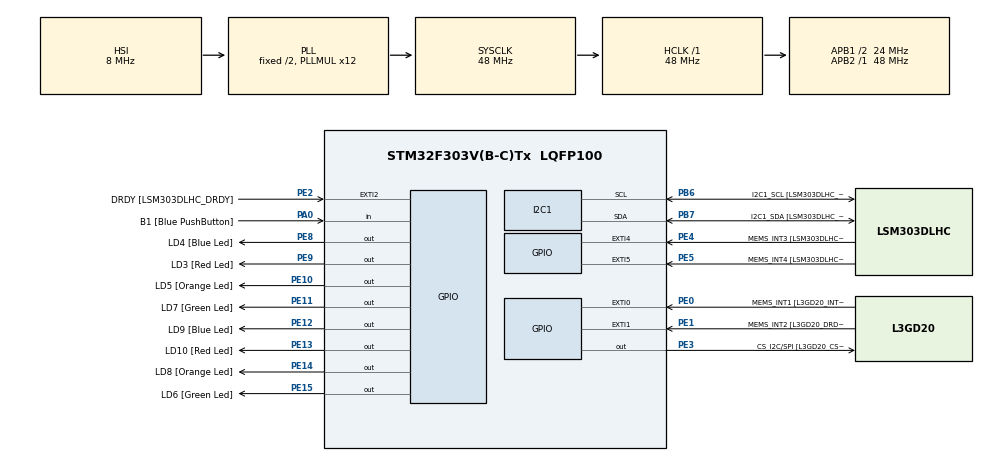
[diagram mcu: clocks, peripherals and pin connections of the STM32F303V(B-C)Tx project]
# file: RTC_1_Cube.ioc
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Mcu.Family=STM32F3
Mcu.Name=STM32F303V(B-C)Tx
Mcu.Package=LQFP100
NVIC.PriorityGroup=NVIC_PRIORITYGROUP_0
PA0.GPIO_Label=B1 [Blue PushButton]
PA0.GPIO_Mode=GPIO_MODE_INPUT
PA0.GPIO_PuPd=GPIO_NOPULL
PA0.Signal=GPIO_Input
PA11.GPIO_Label=DM
PA11.Signal=USB_DM
PA12.GPIO_Label=DP
PA12.Signal=USB_DP
PA13.GPIO_Label=SWDIO
PA13.Signal=SYS_JTMS-SWDIO
PA14.GPIO_Label=SWCLK
PA14.Signal=SYS_JTCK-SWCLK
PA5.GPIO_Label=SPI1_SCK [L3GD20_SCL/SPC]
PA5.GPIO_Mode=GPIO_MODE_AF_PP
PA5.GPIO_PuPd=GPIO_NOPULL
PA5.GPIO_Speed=GPIO_SPEED_FREQ_LOW
PA5.Signal=SPI1_SCK
PA6.GPIO_Label=SPI1_MISO [L3GD20_SA0/SDO]
PA6.GPIO_Mode=GPIO_MODE_AF_PP
PA6.GPIO_PuPd=GPIO_NOPULL
PA6.GPIO_Speed=GPIO_SPEED_FREQ_LOW
PA6.Signal=SPI1_MISO
PA7.GPIO_Label=SPI1_MISO [L3GD20_SDA/SDI/SDO]
PA7.GPIO_Mode=GPIO_MODE_AF_PP
PA7.GPIO_PuPd=GPIO_NOPULL
PA7.GPIO_Speed=GPIO_SPEED_FREQ_LOW
PA7.Signal=SPI1_MOSI
PB3.GPIO_Label=SWO
PB3.Signal=SYS_JTDO-TRACESWO
PB6.GPIO_FM6=__NULL
PB6.GPIO_Label=I2C1_SCL [LSM303DLHC_SCL]
PB6.GPIO_Mode=GPIO_MODE_AF_OD
PB6.GPIO_PuPd=GPIO_NOPULL
PB6.GPIO_Speed=GPIO_SPEED_FREQ_LOW
PB6.Mode=I2C
PB6.Signal=I2C1_SCL
PB7.GPIO_FM7=__NULL
PB7.GPIO_Label=I2C1_SDA [LSM303DLHC_SDA]
PB7.GPIO_Mode=GPIO_MODE_AF_OD
PB7.GPIO_PuPd=GPIO_NOPULL
PB7.GPIO_Speed=GPIO_SPEED_FREQ_LOW
PB7.Mode=I2C
PB7.Signal=I2C1_SDA
PC14-OSC32_IN.GPIO_Label=OSC32_IN
PC14-OSC32_IN.Signal=RCC_OSC32_IN
PC15-OSC32_OUT.GPIO_Label=OSC32_OUT
PC15-OSC32_OUT.Signal=RCC_OSC32_OUT
PE0.GPIO_Label=MEMS_INT1 [L3GD20_INT1]
PE0.GPIO_ModeDefaultEXTI=GPIO_MODE_EVT_RISING
PE0.GPIO_PuPd=GPIO_NOPULL
PE0.Signal=GPXTI0
PE1.GPIO_Label=MEMS_INT2 [L3GD20_DRDY/INT2]
PE1.GPIO_ModeDefaultEXTI=GPIO_MODE_EVT_RISING
PE1.GPIO_PuPd=GPIO_NOPULL
PE1.Signal=GPXTI1
PE10.GPIO_Label=LD5 [Orange Led]
PE10.GPIO_ModeDefaultOutputPP=GPIO_MODE_OUTPUT_PP
PE10.GPIO_PuPd=GPIO_NOPULL
PE10.GPIO_Speed=GPIO_SPEED_FREQ_LOW
PE10.Signal=GPIO_Output
PE11.GPIO_Label=LD7 [Green Led]
PE11.GPIO_ModeDefaultOutputPP=GPIO_MODE_OUTPUT_PP
PE11.GPIO_PuPd=GPIO_NOPULL
PE11.GPIO_Speed=GPIO_SPEED_FREQ_LOW
PE11.Signal=GPIO_Output
PE12.GPIO_Label=LD9 [Blue Led]
PE12.GPIO_ModeDefaultOutputPP=GPIO_MODE_OUTPUT_PP
PE12.GPIO_PuPd=GPIO_NOPULL
PE12.GPIO_Speed=GPIO_SPEED_FREQ_LOW
PE12.Signal=GPIO_Output
PE13.GPIO_Label=LD10 [Red Led]
PE13.GPIO_ModeDefaultOutputPP=GPIO_MODE_OUTPUT_PP
PE13.GPIO_PuPd=GPIO_NOPULL
PE13.GPIO_Speed=GPIO_SPEED_FREQ_LOW
PE13.Signal=GPIO_Output
PE14.GPIO_Label=LD8 [Orange Led]
PE14.GPIO_ModeDefaultOutputPP=GPIO_MODE_OUTPUT_PP
PE14.GPIO_PuPd=GPIO_NOPULL
PE14.GPIO_Speed=GPIO_SPEED_FREQ_LOW
PE14.Signal=GPIO_Output
PE15.GPIO_Label=LD6 [Green Led]
PE15.GPIO_ModeDefaultOutputPP=GPIO_MODE_OUTPUT_PP
PE15.GPIO_PuPd=GPIO_NOPULL
PE15.GPIO_Speed=GPIO_SPEED_FREQ_LOW
PE15.Signal=GPIO_Output
PE2.GPIO_Label=DRDY [LSM303DLHC_DRDY]
PE2.GPIO_ModeDefaultEXTI=GPIO_MODE_EVT_RISING
PE2.GPIO_PuPd=GPIO_NOPULL
PE2.Signal=GPXTI2
PE3.GPIO_Label=CS_I2C/SPI [L3GD20_CS_I2C/SPI]
PE3.GPIO_ModeDefaultOutputPP=GPIO_MODE_OUTPUT_PP
PE3.GPIO_PuPd=GPIO_NOPULL
PE3.GPIO_Speed=GPIO_SPEED_FREQ_LOW
PE3.Signal=GPIO_Output
PE4.GPIO_Label=MEMS_INT3 [LSM303DLHC_INT1]
PE4.GPIO_ModeDefaultEXTI=GPIO_MODE_EVT_RISING
PE4.GPIO_PuPd=GPIO_NOPULL
PE4.Signal=GPXTI4
PE5.GPIO_Label=MEMS_INT4 [LSM303DLHC_INT2]
PE5.GPIO_ModeDefaultEXTI=GPIO_MODE_EVT_RISING
PE5.GPIO_PuPd=GPIO_NOPULL
PE5.Signal=GPXTI5
PE8.GPIO_Label=LD4 [Blue Led]
PE8.GPIO_ModeDefaultOutputPP=GPIO_MODE_OUTPUT_PP
PE8.GPIO_PuPd=GPIO_NOPULL
PE8.GPIO_Speed=GPIO_SPEED_FREQ_LOW
PE8.Signal=GPIO_Output
PE9.GPIO_Label=LD3 [Red Led]
PE9.GPIO_ModeDefaultOutputPP=GPIO_MODE_OUTPUT_PP
PE9.GPIO_PuPd=GPIO_NOPULL
PE9.GPIO_Speed=GPIO_SPEED_FREQ_LOW
PE9.Signal=GPIO_Output
PF0-OSC_IN.GPIO_Label=OSC_IN
PF0-OSC_IN.Signal=RCC_OSC_IN
PF1-OSC_OUT.GPIO_Label=OSC_OUT
PF1-OSC_OUT.Signal=RCC_OSC_OUT
ProjectManager.HeapSize=0x200
ProjectManager.StackSize=0x400
ProjectManager.TargetToolchain=SW4STM32
RCC.AHBFreq_Value=48000000
RCC.APB1CLKDivider=RCC_HCLK_DIV2
RCC.APB1Freq_Value=24000000
RCC.APB1TimFreq_Value=48000000
RCC.APB2Freq_Value=48000000
RCC.APB2TimFreq_Value=48000000
RCC.CortexFreq_Value=48000000
RCC.HCLKFreq_Value=48000000
RCC.HSE_VALUE=8000000
RCC.HSI_VALUE=8000000
RCC.LSE_VALUE=32768
RCC.PLLMUL=RCC_PLL_MUL12
RCC.SYSCLKFreq_VALUE=48000000
RCC.SYSCLKSourceVirtual=RCC_SYSCLKSOURCE_PLLCLK
RCC.USBFreq_Value=48000000
board=STM32F3DISCOVERY

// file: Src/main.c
/**
  ******************************************************************************
  * File Name          : main.c
  * Description        : Main program body
  ******************************************************************************
  ** This notice applies to any and all portions of this file
  * that are not between comment pairs USER CODE BEGIN and
  * USER CODE END. Other portions of this file, whether
  * inserted by the user or by software development tools
  * are owned by their respective copyright owners.
  *
  * COPYRIGHT(c) 2017 STMicroelectronics
  *
  * Redistribution and use in source and binary forms, with or without modification,
  * are permitted provided that the following conditions are met:
  *   1. Redistributions of source code must retain the above copyright notice,
  *      this list of conditions and the following disclaimer.
  *   2. Redistributions in binary form must reproduce the above copyright notice,
  *      this list of conditions and the following disclaimer in the documentation
  *      and/or other materials provided with the distribution.
  *   3. Neither the name of STMicroelectronics nor the names of its contributors
  *      may be used to endorse or promote products derived from this software
  *      without specific prior written permission.
  *
  * THIS SOFTWARE IS PROVIDED BY THE COPYRIGHT HOLDERS AND CONTRIBUTORS "AS IS"
  * AND ANY EXPRESS OR IMPLIED WARRANTIES, INCLUDING, BUT NOT LIMITED TO, THE
  * IMPLIED WARRANTIES OF MERCHANTABILITY AND FITNESS FOR A PARTICULAR PURPOSE ARE
  * DISCLAIMED. IN NO EVENT SHALL THE COPYRIGHT HOLDER OR CONTRIBUTORS BE LIABLE
  * FOR ANY DIRECT, INDIRECT, INCIDENTAL, SPECIAL, EXEMPLARY, OR CONSEQUENTIAL
  * DAMAGES (INCLUDING, BUT NOT LIMITED TO, PROCUREMENT OF SUBSTITUTE GOODS OR
  * SERVICES; LOSS OF USE, DATA, OR PROFITS; OR BUSINESS INTERRUPTION) HOWEVER
  * CAUSED AND ON ANY THEORY OF LIABILITY, WHETHER IN CONTRACT, STRICT LIABILITY,
  * OR TORT (INCLUDING NEGLIGENCE OR OTHERWISE) ARISING IN ANY WAY OUT OF THE USE
  * OF THIS SOFTWARE, EVEN IF ADVISED OF THE POSSIBILITY OF SUCH DAMAGE.
  *
  ******************************************************************************
  */
#include "main.h"
#include "stm32f3xx_hal.h"
#include "i2c.h"
#include "gpio.h"

/* USER CODE BEGIN Includes */

extern void initialise_monitor_handles(void);

#define RTC_ADDRESS 0x68*2

/* USER CODE END Includes */

/* USER CODE BEGIN PV */
/* Private variables ---------------------------------------------------------*/

/* USER CODE END PV */

void SystemClock_Config(void);

/* USER CODE BEGIN PFP */
/* Private function prototypes -----------------------------------------------*/

/* USER CODE END PFP */

/* USER CODE BEGIN 0 */

inline int bcd_to_decimal(uint8_t bcd_value) {
	return ((bcd_value & 0xF0) >> 4) * 10 + (bcd_value & 0x0F);
}

inline int decimal_to_bcd(uint8_t decimal) {
	return ((decimal / 10) << 4) + decimal % 10;
}

/* USER CODE END 0 */

int main(void)
{

  /* USER CODE BEGIN 1 */
  initialise_monitor_handles();
  /* USER CODE END 1 */

  /* MCU Configuration----------------------------------------------------------*/

  /* Reset of all peripherals, Initializes the Flash interface and the Systick. */
  HAL_Init();

  /* Configure the system clock */
  SystemClock_Config();

  /* Initialize all configured peripherals */
  MX_GPIO_Init();
  MX_I2C1_Init();

  /* USER CODE BEGIN 2 */

  // Initializing start time

  uint8_t received_data[7];
  uint8_t send_data[7];
  send_data[0] = decimal_to_bcd(0);   // seconds
  send_data[1] = decimal_to_bcd(45);  // minutes
  send_data[2] = decimal_to_bcd(15);  // hours
  send_data[3] = decimal_to_bcd(4);   // weekday
  send_data[4] = decimal_to_bcd(16);  // date
  send_data[5] = decimal_to_bcd(11);  // month
  send_data[6] = decimal_to_bcd(17);  // year

  HAL_I2C_Mem_Write(&hi2c1, RTC_ADDRESS, 0, 1, send_data, 7, 500);

  int seconds, minutes, hours, weekday, date, month, year;

  /* USER CODE END 2 */

  /* Infinite loop */
  while (1)
  {

  /* USER CODE BEGIN 3 */

	  HAL_I2C_Mem_Read(&hi2c1, RTC_ADDRESS, 0, 1, received_data, 7, 500);

	  seconds = bcd_to_decimal(received_data[0]);
	  minutes = bcd_to_decimal(received_data[1]);
	  hours = bcd_to_decimal(received_data[2]);
	  weekday = bcd_to_decimal(received_data[3]);
	  date = bcd_to_decimal(received_data[4]);
	  month = bcd_to_decimal(received_data[5]);
	  year = bcd_to_decimal(received_data[6]);
	  printf("year: %i; month: %i; date: %i; weekday: %i\n", year, month, date, weekday);
	  printf("%i : %i : %i\n", hours, minutes, seconds);
	  printf("+-------------+\n");

	  HAL_Delay(50);

  }
  /* USER CODE END 3 */

}

/** System Clock Configuration
*/
void SystemClock_Config(void)
{

  RCC_OscInitTypeDef RCC_OscInitStruct;
  RCC_ClkInitTypeDef RCC_ClkInitStruct;
  RCC_PeriphCLKInitTypeDef PeriphClkInit;

    /**Initializes the CPU, AHB and APB busses clocks
    */
  RCC_OscInitStruct.OscillatorType = RCC_OSCILLATORTYPE_HSI;
  RCC_OscInitStruct.HSIState = RCC_HSI_ON;
  RCC_OscInitStruct.HSICalibrationValue = 16;
  RCC_OscInitStruct.PLL.PLLState = RCC_PLL_ON;
  RCC_OscInitStruct.PLL.PLLSource = RCC_PLLSOURCE_HSI;
  RCC_OscInitStruct.PLL.PLLMUL = RCC_PLL_MUL12;
  if (HAL_RCC_OscConfig(&RCC_OscInitStruct) != HAL_OK)
  {
    _Error_Handler(__FILE__, __LINE__);
  }

    /**Initializes the CPU, AHB and APB busses clocks
    */
  RCC_ClkInitStruct.ClockType = RCC_CLOCKTYPE_HCLK|RCC_CLOCKTYPE_SYSCLK
                              |RCC_CLOCKTYPE_PCLK1|RCC_CLOCKTYPE_PCLK2;
  RCC_ClkInitStruct.SYSCLKSource = RCC_SYSCLKSOURCE_PLLCLK;
  RCC_ClkInitStruct.AHBCLKDivider = RCC_SYSCLK_DIV1;
  RCC_ClkInitStruct.APB1CLKDivider = RCC_HCLK_DIV2;
  RCC_ClkInitStruct.APB2CLKDivider = RCC_HCLK_DIV1;

  if (HAL_RCC_ClockConfig(&RCC_ClkInitStruct, FLASH_LATENCY_1) != HAL_OK)
  {
    _Error_Handler(__FILE__, __LINE__);
  }

  PeriphClkInit.PeriphClockSelection = RCC_PERIPHCLK_I2C1;
  PeriphClkInit.I2c1ClockSelection = RCC_I2C1CLKSOURCE_HSI;
  if (HAL_RCCEx_PeriphCLKConfig(&PeriphClkInit) != HAL_OK)
  {
    _Error_Handler(__FILE__, __LINE__);
  }

    /**Configure the Systick interrupt time
    */
  HAL_SYSTICK_Config(HAL_RCC_GetHCLKFreq()/1000);

    /**Configure the Systick
    */
  HAL_SYSTICK_CLKSourceConfig(SYSTICK_CLKSOURCE_HCLK);

  /* SysTick_IRQn interrupt configuration */
  HAL_NVIC_SetPriority(SysTick_IRQn, 0, 0);
}

void _Error_Handler(char * file, int line)
{
  while(1)
  {
  }
}

/************************ (C) COPYRIGHT STMicroelectronics *****END OF FILE****/
